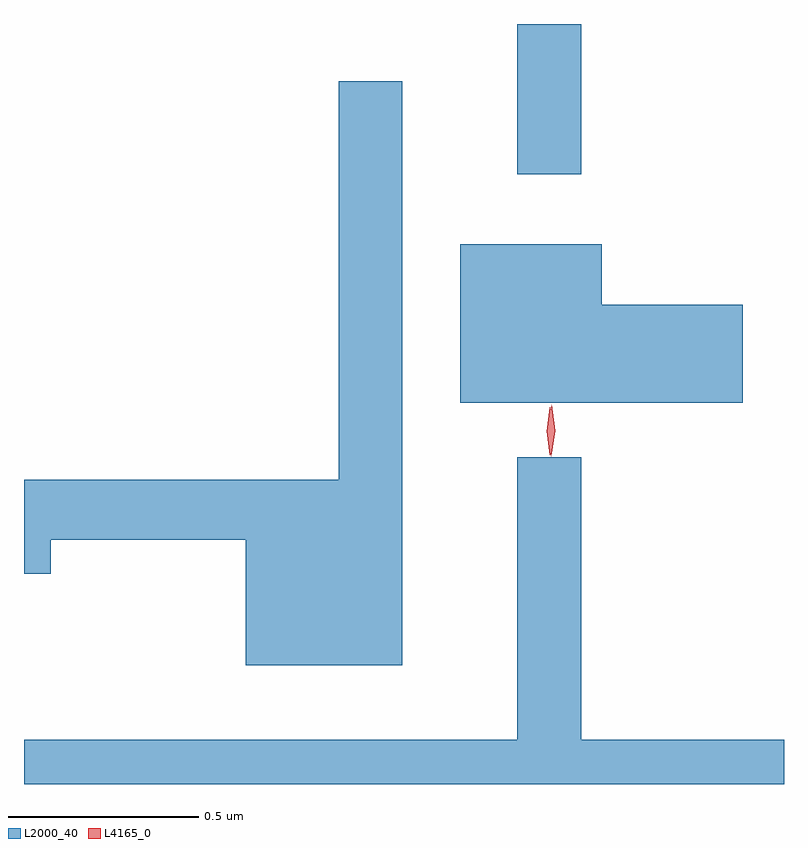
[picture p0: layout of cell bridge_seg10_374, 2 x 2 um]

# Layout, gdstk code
import gdstk
lib = gdstk.Library(unit=1e-6, precision=1e-09)
def R(c, l, rs):  # rectangles x0, y0, x1, y1
    for r in rs: c.add(gdstk.rectangle(r[:2], r[2:], *l))
def P(c, l, *ps):  # polygons
    for p in ps: c.add(gdstk.Polygon(p, *l))
L2000_40 = (2000, 40)
L4165_0 = (4165, 0)

bridge_seg10_374 = lib.new_cell('bridge_seg10_374')
R(bridge_seg10_374, L2000_40, [(1258.671,2155.633,1258.839,2156.028)])
P(bridge_seg10_374, L2000_40, [(1258.369,2155.878),(1258.201,2155.878),(1258.201,2154.829),(1257.373,2154.829),(1257.373,2154.581),(1257.444,2154.581),(1257.444,2154.671),(1257.956,2154.671),(1257.956,2154.341),(1258.369,2154.341)],
  [(1259.264,2155.289),(1258.894,2155.289),(1258.894,2155.449),(1258.521,2155.449),(1258.521,2155.031),(1259.264,2155.031)],
  [(1259.373,2154.144),(1258.839,2154.144),(1258.839,2154.888),(1258.671,2154.888),(1258.671,2154.144),(1257.373,2154.144),(1257.373,2154.028),(1259.373,2154.028)])
P(bridge_seg10_374, L4165_0, [(1258.76,2154.89),(1258.76,2154.89),(1258.751,2154.958),(1258.762,2155.026),(1258.762,2155.026),(1258.762,2155.026),(1258.771,2154.958),(1258.761,2154.89)],
  [(1258.758,2154.893),(1258.757,2154.894),(1258.748,2154.956),(1258.757,2155.019),(1258.758,2155.02),(1258.758,2155.019),(1258.768,2154.956),(1258.758,2154.894)])

lib.write_gds('bridge_seg10_374.gds')
